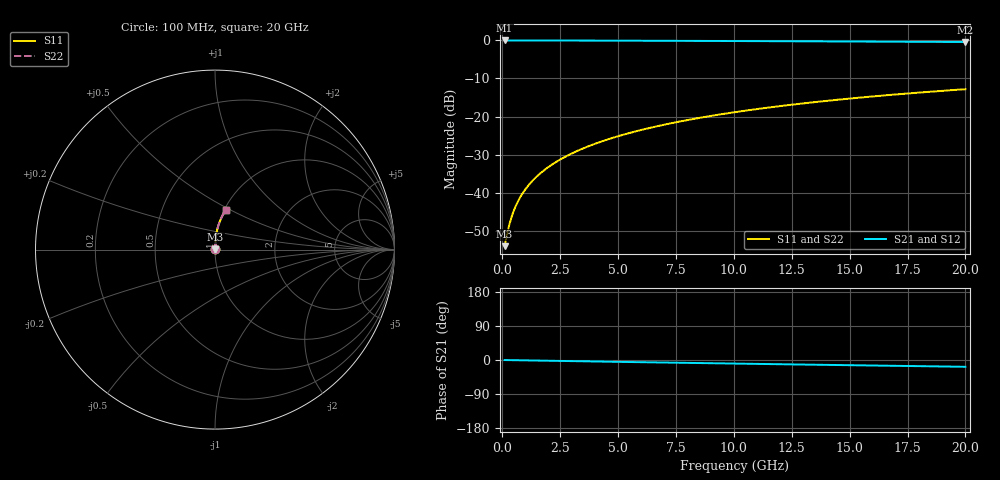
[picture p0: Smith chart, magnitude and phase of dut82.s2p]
! Touchstone file exported from HFSS 2024.1.0
!  File:  C:/UserFiles/LocalFiles/RDL_TSV_Batchsim/temp_RDL_top_82_1778682524.aedt
!  Generated:  10:30:50 PM May 13, 2026
!  Design:  RDL_top
!  Project:  temp_RDL_top_82_1778682524
!  Setup:  Setup1
!  Solution:  Sweep
! Variables:
!  dtsv = 10.80580581um
!  hbump = 3um
!  htsv = 86.65um
!  ldown = 100um
!  lrdl = 175.9um
!  p = 40
!  p1 = 58.89um
!  rhole = 1um
!  t = 450um
!  tdown = 3.915915916um
!  trdl = 2.51um
!  wdown = 15.38538539um
!  wrdl = 18.66um
# GHz S MA R 50.000000
! Terminal data exported
! Port[1] = Box2_T1
! Port[2] = Box2_T2
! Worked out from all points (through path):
!   200 points, 100 MHz to 20 GHz, reference 50 ohm
!   highest |S21| = -0.01 dB at 100 MHz (marker M1); lowest = -0.4 dB at 20 GHz (marker M2)
!   group delay of S21, straight-line fit = 2.47 ps
!   lowest |S11| = -54.0 dB at 100 MHz (marker M3), VSWR 1.00, Z = 50.2 + j0.114 ohm
!   |S11| at or under -10 dB: start of sweep to end of sweep
!   |S22| runs from -54.0 to -12.8 dB; largest |S21 - S12| = 3.6e-15
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0.1  0.001986 34.9  0.9984 -0.1  0.9984 -0.1  0.001986 34.9
! Gamma 0 0 0 0
! Port Impedance 50 0 50 0
0.2  0.002807 53.8  0.9983 -0.2  0.9983 -0.2  0.002807 53.8
0.3  0.003783 63.4  0.9983 -0.3  0.9983 -0.3  0.003783 63.4
0.4  0.004808 68.8  0.9982 -0.4  0.9982 -0.4  0.004808 68.8
0.5  0.005851 72.3  0.9982 -0.5  0.9982 -0.5  0.005851 72.3
0.6  0.006899 74.7  0.9981 -0.6  0.9981 -0.6  0.006899 74.7
0.8  0.009004 77.9  0.998 -0.8  0.998 -0.8  0.009004 77.9
1.1  0.01218 80.8  0.9978 -1.1  0.9978 -1.1  0.01218 80.7
1.5  0.01645 82.9  0.9975 -1.5  0.9975 -1.5  0.01645 82.9
1.8  0.01967 83.9  0.9972 -1.8  0.9972 -1.8  0.01967 83.9
2.1  0.02291 84.6  0.9969 -2.1  0.9969 -2.1  0.02291 84.6
2.7  0.02946 85.5  0.9963 -2.7  0.9963 -2.7  0.02946 85.5
3.5  0.03829 86.1  0.9952 -3.5  0.9952 -3.5  0.03829 86.1
4.2  0.04613 86.3  0.994 -4.1  0.994 -4.1  0.04612 86.3
5  0.05519 86.3  0.9926 -4.9  0.9926 -4.9  0.05519 86.3
5.9  0.06553 86.1  0.9908 -5.7  0.9908 -5.7  0.06552 86.1
6.8  0.07598 85.7  0.9888 -6.6  0.9888 -6.6  0.07598 85.7
8.4  0.09476 84.8  0.9851 -8.0  0.9851 -8.0  0.09476 84.8
10.1  0.1149 83.5  0.9809 -9.5  0.9809 -9.5  0.1148 83.5
13.4  0.1537 80.7  0.9722 -12.4  0.9722 -12.4  0.1537 80.7
16.7  0.1918 77.8  0.9628 -15.2  0.9628 -15.2  0.1918 77.8
20  0.2287 74.8  0.9528 -17.9  0.9528 -17.9  0.2287 74.8
